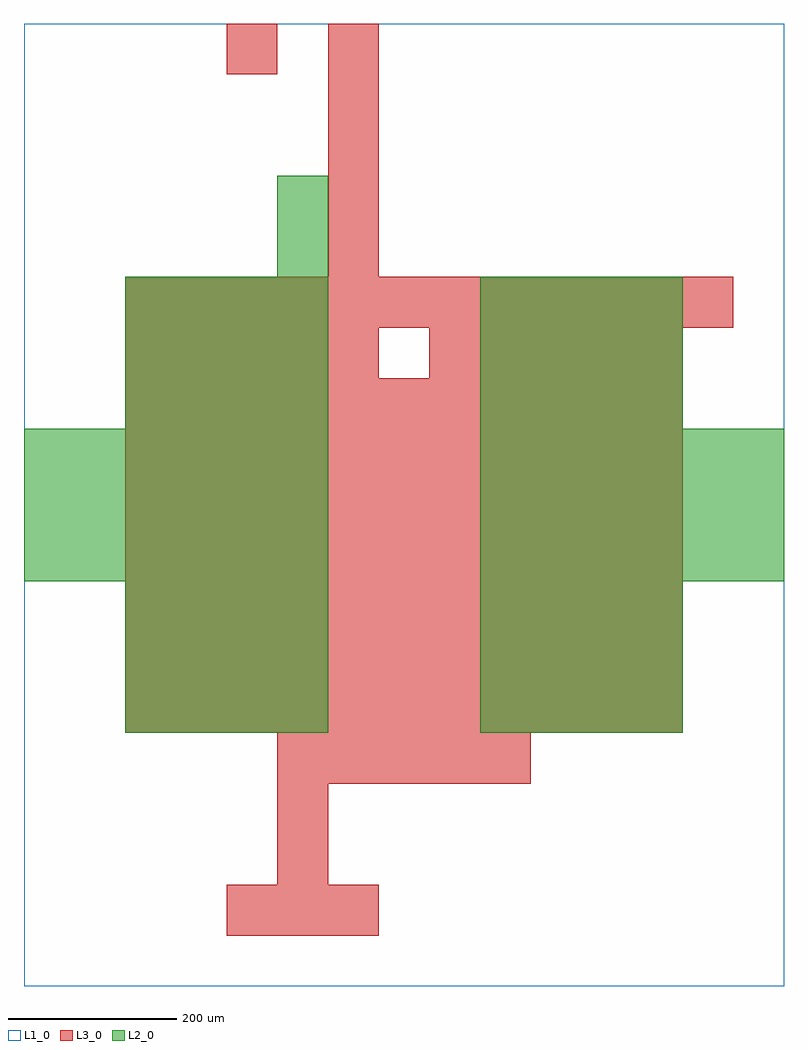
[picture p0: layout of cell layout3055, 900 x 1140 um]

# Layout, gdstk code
import gdstk
lib = gdstk.Library(unit=1e-6, precision=1e-09)
def R(c, l, rs):  # rectangles x0, y0, x1, y1
    for r in rs: c.add(gdstk.rectangle(r[:2], r[2:], *l))
def A(c, l, x, y, w, h, nx, ny, dx, dy):  # array of equal rectangles
    R(c, l, [(x+i*dx, y+j*dy, x+i*dx+w, y+j*dy+h) for i in range(nx) for j in range(ny)])
L1_0 = (1, 0)
L2_0 = (2, 0)
L3_0 = (3, 0)

layout3055 = lib.new_cell('layout3055')
R(layout3055, L1_0, [(0,0,900,1140)])
A(layout3055, L2_0, 120, 300, 60, 60, 4, 3, 60, 60)
A(layout3055, L2_0, 540, 300, 60, 60, 4, 3, 60, 60)
A(layout3055, L2_0, 0, 480, 60, 60, 6, 3, 60, 60)
A(layout3055, L2_0, 540, 480, 60, 60, 6, 3, 60, 60)
A(layout3055, L2_0, 120, 660, 60, 60, 4, 3, 60, 60)
A(layout3055, L2_0, 540, 660, 60, 60, 4, 3, 60, 60)
R(layout3055, L2_0, [(300,840,360,900), (300,900,360,960)])
A(layout3055, L3_0, 240, 60, 60, 60, 3, 1, 60, 0)
A(layout3055, L3_0, 300, 240, 60, 60, 5, 1, 60, 0)
A(layout3055, L3_0, 120, 300, 60, 60, 11, 7, 60, 60)
A(layout3055, L3_0, 120, 720, 60, 60, 5, 1, 60, 0)
A(layout3055, L3_0, 480, 720, 60, 60, 5, 1, 60, 0)
A(layout3055, L3_0, 120, 780, 60, 60, 12, 1, 60, 0)
A(layout3055, L3_0, 360, 840, 60, 60, 1, 5, 0, 60)
R(layout3055, L3_0, [(300,120,360,180), (300,180,360,240), (240,1080,300,1140)])

lib.write_gds('layout3055.gds')
